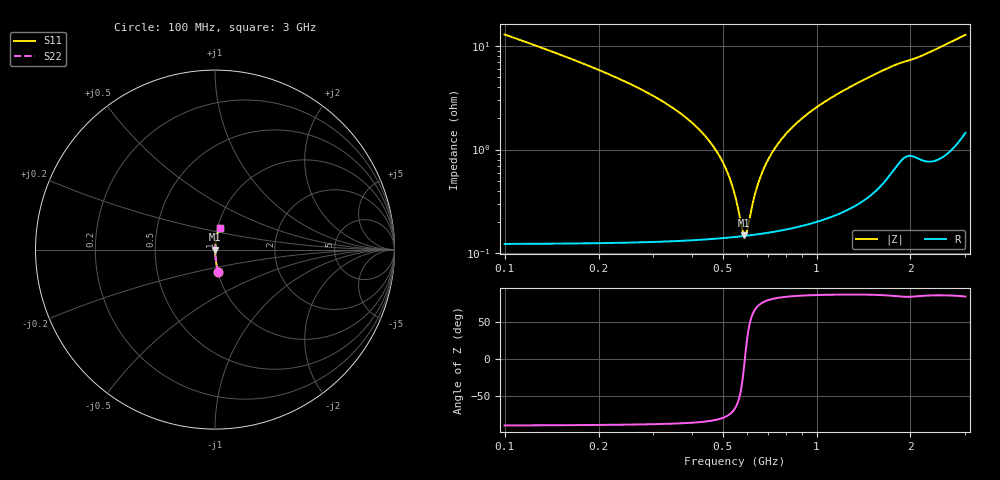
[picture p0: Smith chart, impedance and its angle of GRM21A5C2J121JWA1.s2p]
!Murata Part Number: GRM21A5C2J121JWA1
!These Parameters are Measured in Series Mode Connection
!Data Generated on Mar 30, 2021
!  o--ll--o
!Port1  Port2
!  o------o
!Operation Temp=25[degC], DC Bias Voltage=0[V]
!Freq. Start=100[MHz] Stop=3[GHz] 401[Steps]
# Hz S RI R 50
!Freq.(Hz) S11(Real) S11(Imag) S21(Real) S21(Imag) S12(Real) S12(Imag) S22(Real) S22(Imag)
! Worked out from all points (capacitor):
!   401 points, 100 MHz to 3 GHz, reference 50 ohm
!   read as one part in series: C = 120 pF near 114.5 MHz
!   lowest |Z| = 149 mohm at 585.8 MHz (marker M1)
!   series resonance near 589.2 MHz, so ESL is about 610 pH
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1e8  0.0175 -0.1264  0.9825 0.1264  0.9825 0.1264  0.0175 -0.1264
2.2325e8  0.00383 -0.0507  0.9962 0.0507  0.9962 0.0507  0.00383 -0.0507
3.8275e8  0.00172 -0.02  0.9983 0.02  0.9983 0.02  0.00172 -0.02
4.625e8  0.00149 -0.011  0.9985 0.011  0.9985 0.011  0.00149 -0.011
4.915e8  0.00146 -0.00823  0.9985 0.00823  0.9985 0.00823  0.00146 -0.00823
5.205e8  0.00144 -0.00561  0.9986 0.00561  0.9986 0.00561  0.00144 -0.00561
5.4225e8  0.00144 -0.00376  0.9986 0.00376  0.9986 0.00376  0.00144 -0.00376
5.7125e8  0.00145 -0.0014  0.9985 0.0014  0.9985 0.0014  0.00145 -0.0014
5.8575e8  0.00146 -0.000266  0.9985 0.000266  0.9985 0.000266  0.00146 -0.000266
6.0025e8  0.00148 0.00084  0.9985 -0.00084  0.9985 -0.00084  0.00148 0.00084
6.365e8  0.00152 0.0035  0.9985 -0.0035  0.9985 -0.0035  0.00152 0.0035
6.655e8  0.00157 0.00553  0.9984 -0.00553  0.9984 -0.00553  0.00157 0.00553
6.945e8  0.00162 0.00749  0.9984 -0.00749  0.9984 -0.00749  0.00162 0.00749
7.38e8  0.00172 0.0103  0.9983 -0.0103  0.9983 -0.0103  0.00172 0.0103
7.96e8  0.00188 0.0139  0.9981 -0.0139  0.9981 -0.0139  0.00188 0.0139
8.685e8  0.00211 0.0181  0.9979 -0.0181  0.9979 -0.0181  0.00211 0.0181
1.0715e9  0.00299 0.0291  0.997 -0.0291  0.997 -0.0291  0.00299 0.0291
1.28175e9  0.00427 0.0398  0.9957 -0.0398  0.9957 -0.0398  0.00427 0.0398
1.55e9  0.00681 0.0531  0.9932 -0.0531  0.9932 -0.0531  0.00681 0.0531
2.03575e9  0.0138 0.0723  0.9862 -0.0723  0.9862 -0.0723  0.0138 0.0723
2.5215e9  0.0177 0.096  0.9823 -0.096  0.9823 -0.096  0.0177 0.096
3e9  0.0295 0.1214  0.9705 -0.1214  0.9705 -0.1214  0.0295 0.1214
